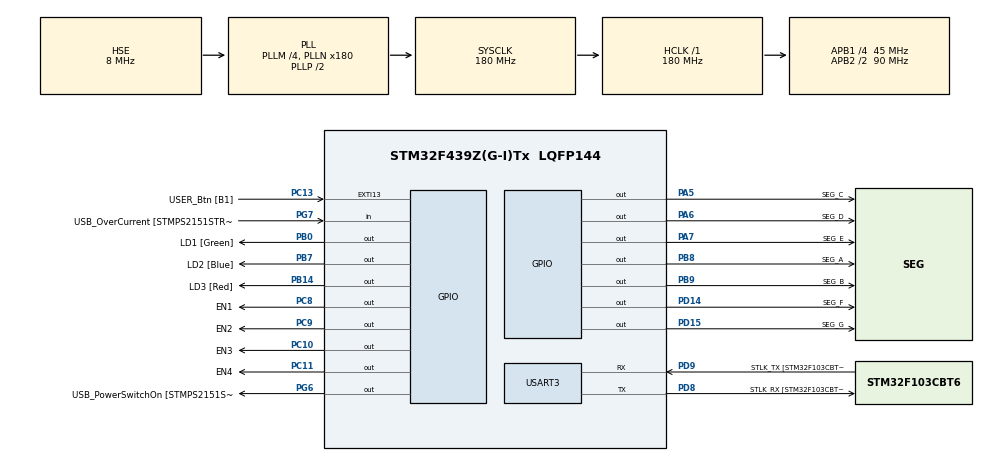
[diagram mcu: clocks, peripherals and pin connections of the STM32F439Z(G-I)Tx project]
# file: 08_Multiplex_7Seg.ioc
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Mcu.Family=STM32F4
Mcu.Name=STM32F439Z(G-I)Tx
Mcu.Package=LQFP144
NVIC.PriorityGroup=NVIC_PRIORITYGROUP_4
PA13.GPIO_Label=TMS
PA13.Mode=Serial_Wire
PA13.Signal=SYS_JTMS-SWDIO
PA14.GPIO_Label=TCK
PA14.Mode=Serial_Wire
PA14.Signal=SYS_JTCK-SWCLK
PA5.GPIO_Label=SEG_C
PA5.Signal=GPIO_Output
PA6.GPIO_Label=SEG_D
PA6.Signal=GPIO_Output
PA7.GPIO_Label=SEG_E
PA7.Signal=GPIO_Output
PB0.GPIO_Label=LD1 [Green]
PB0.Signal=GPIO_Output
PB14.GPIO_Label=LD3 [Red]
PB14.Signal=GPIO_Output
PB7.GPIO_Label=LD2 [Blue]
PB7.Signal=GPIO_Output
PB8.GPIO_Label=SEG_A
PB8.Signal=GPIO_Output
PB9.GPIO_Label=SEG_B
PB9.Signal=GPIO_Output
PC10.GPIO_Label=EN3
PC10.Signal=GPIO_Output
PC11.GPIO_Label=EN4
PC11.Signal=GPIO_Output
PC13.GPIO_Label=USER_Btn [B1]
PC13.Signal=GPXTI13
PC14/OSC32_IN.Mode=LSE-External-Oscillator
PC14/OSC32_IN.Signal=RCC_OSC32_IN
PC15/OSC32_OUT.Mode=LSE-External-Oscillator
PC15/OSC32_OUT.Signal=RCC_OSC32_OUT
PC8.GPIO_Label=EN1
PC8.Signal=GPIO_Output
PC9.GPIO_Label=EN2
PC9.Signal=GPIO_Output
PD14.GPIO_Label=SEG_F
PD14.Signal=GPIO_Output
PD15.GPIO_Label=SEG_G
PD15.Signal=GPIO_Output
PD8.GPIO_Label=STLK_RX [STM32F103CBT6_PA3]
PD8.Mode=Asynchronous
PD8.Signal=USART3_TX
PD9.GPIO_Label=STLK_TX [STM32F103CBT6_PA2]
PD9.Mode=Asynchronous
PD9.Signal=USART3_RX
PG6.GPIO_Label=USB_PowerSwitchOn [STMPS2151STR_EN]
PG6.Signal=GPIO_Output
PG7.GPIO_Label=USB_OverCurrent [STMPS2151STR_FAULT]
PG7.Signal=GPIO_Input
PH0/OSC_IN.GPIO_Label=MCO [STM32F103CBT6_PA8]
PH0/OSC_IN.Mode=HSE-External-Oscillator
PH0/OSC_IN.Signal=RCC_OSC_IN
PH1/OSC_OUT.Mode=HSE-External-Oscillator
PH1/OSC_OUT.Signal=RCC_OSC_OUT
ProjectManager.HeapSize=0x200
ProjectManager.StackSize=0x400
ProjectManager.TargetToolchain=STM32CubeIDE
RCC.48MHZClocksFreq_Value=51428571.428571425
RCC.AHBFreq_Value=180000000
RCC.APB1CLKDivider=RCC_HCLK_DIV4
RCC.APB1Freq_Value=45000000
RCC.APB1TimFreq_Value=90000000
RCC.APB2CLKDivider=RCC_HCLK_DIV2
RCC.APB2Freq_Value=90000000
RCC.APB2TimFreq_Value=180000000
RCC.CortexFreq_Value=180000000
RCC.HCLKFreq_Value=180000000
RCC.HSE_VALUE=8000000
RCC.HSI_VALUE=16000000
RCC.PLLM=4
RCC.PLLMUL=RCC_PLL_MUL9
RCC.PLLN=180
RCC.PLLQ=7
RCC.PLLSourceVirtual=RCC_PLLSOURCE_HSE
RCC.PRESCALERUSB=RCC_USBCLKSOURCE_PLL_DIV1_5
RCC.SYSCLKFreq_VALUE=180000000
RCC.SYSCLKSource=RCC_SYSCLKSOURCE_PLLCLK
RCC.SYSCLKSourceVirtual=RCC_SYSCLKSOURCE_PLLCLK
RCC.USBFreq_Value=48000000
RCC.VCOOutputFreq_Value=360000000
USART3.VirtualMode=VM_ASYNC
board=NUCLEO-F439ZI

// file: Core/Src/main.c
/* USER CODE BEGIN Header */
/**
 ******************************************************************************
 * @file           : main.c
 * @brief          : Main program body
 ******************************************************************************
 * @attention
 *
 * Copyright (c) 2026 STMicroelectronics.
 * All rights reserved.
 *
 * This software is licensed under terms that can be found in the LICENSE file
 * in the root directory of this software component.
 * If no LICENSE file comes with this software, it is provided AS-IS.
 *
 ******************************************************************************
 */
/* USER CODE END Header */
#include "main.h"

UART_HandleTypeDef huart3;

/* USER CODE BEGIN PV */
// Tabla de segmentos para cátodo común (0-9)
uint8_t tabla_segmentos[] = {0x3F, 0x06, 0x5B, 0x4F, 0x66, 0x6D, 0x7D, 0x07, 0x7F, 0x6F};

// Array para guardar los 4 números que queremos mostrar (ej: {1, 2, 3, 4})
uint8_t valores_display[4] = {0, 0, 0, 0};

uint16_t contador_global = 0;
uint32_t ultimo_tiempo = 0;

/* USER CODE END PV */

void SystemClock_Config(void);
static void MX_GPIO_Init(void);
static void MX_USART3_UART_Init(void);
/* USER CODE BEGIN PFP */

void Display_Digit(uint8_t byte);
void Display_Mux_Control(void);

/* USER CODE END PFP */

/* USER CODE BEGIN 0 */

void Display_Digit(uint8_t byte) {
	HAL_GPIO_WritePin(SEG_A_GPIO_Port, SEG_A_Pin, (byte >> 0) & 0x01);
	HAL_GPIO_WritePin(SEG_B_GPIO_Port, SEG_B_Pin, (byte >> 1) & 0x01);
	HAL_GPIO_WritePin(SEG_C_GPIO_Port, SEG_C_Pin, (byte >> 2) & 0x01);
	HAL_GPIO_WritePin(SEG_D_GPIO_Port, SEG_D_Pin, (byte >> 3) & 0x01);
	HAL_GPIO_WritePin(SEG_E_GPIO_Port, SEG_E_Pin, (byte >> 4) & 0x01);
	HAL_GPIO_WritePin(SEG_F_GPIO_Port, SEG_F_Pin, (byte >> 5) & 0x01);
	HAL_GPIO_WritePin(SEG_G_GPIO_Port, SEG_G_Pin, (byte >> 6) & 0x01);
}

void Display_Mux_Control(void) {
	for (int i = 0; i < 4; i++) {
		// 1. Apagar todos los habilitadores (Limpieza)
		HAL_GPIO_WritePin(EN1_GPIO_Port, EN1_Pin, GPIO_PIN_RESET);
		HAL_GPIO_WritePin(EN2_GPIO_Port, EN2_Pin, GPIO_PIN_RESET);
		HAL_GPIO_WritePin(EN3_GPIO_Port, EN3_Pin, GPIO_PIN_RESET);
		HAL_GPIO_WritePin(EN4_GPIO_Port, EN4_Pin, GPIO_PIN_RESET);
		// 2. Cargar el número en el bus
		Display_Digit(tabla_segmentos[valores_display[i]]);

		// 3. Encender solo el transistor que corresponde
		if (i == 0) HAL_GPIO_WritePin(EN1_GPIO_Port, EN1_Pin, GPIO_PIN_SET);
		if (i == 1) HAL_GPIO_WritePin(EN2_GPIO_Port, EN2_Pin, GPIO_PIN_SET);
		if (i == 2) HAL_GPIO_WritePin(EN3_GPIO_Port, EN3_Pin, GPIO_PIN_SET);
		if (i == 3) HAL_GPIO_WritePin(EN4_GPIO_Port, EN4_Pin, GPIO_PIN_SET);

		// 4. Retardo muy corto para que el ojo lo vea (Persistencia de Visión)
		HAL_Delay(5);
	}
}

/* USER CODE END 0 */

int main(void)
{

	/* MCU Configuration--------------------------------------------------------*/

	/* Reset of all peripherals, Initializes the Flash interface and the Systick. */
	HAL_Init();

	/* Configure the system clock */
	SystemClock_Config();

	/* Initialize all configured peripherals */
	MX_GPIO_Init();
	MX_USART3_UART_Init();
	/* USER CODE BEGIN 2 */

	//Iniciamos los displays en cero
	valores_display[3] = 0;
	valores_display[2] = 0;
	valores_display[1] = 0;
	valores_display[0] = 0;

	Display_Mux_Control(); //Refrescamos los valores
	HAL_Delay(500);		   //Retardo bloqueante
	/* USER CODE END 2 */

	/* Infinite loop */
	while (1)
	{

		/* USER CODE BEGIN 3 */

		/*INICIO DEL LA RUTINA*/

		// 1. Lógica de tiempo: Incrementar el contador cada 100ms
		if (HAL_GetTick() - ultimo_tiempo >= 100) {
			ultimo_tiempo = HAL_GetTick();
			contador_global++;
			if (contador_global > 9999) contador_global = 0;

		// 2. Descomponer el número para los 3 displays
			// Ejemplo: 8452 -> mil: 8 centenas: 4, decenas: 5, unidades: 2
			valores_display[3] = (contador_global / 1000) % 10; 	// Mil
			valores_display[2] = (contador_global / 100) % 10; 	// Centena
			valores_display[1] = (contador_global / 10) % 10;  	// Decena
			valores_display[0] = contador_global % 10;         	// Unidad
		}

		// 3. MUX CONTROL: Refresca los digitos escritos en el bus de datos
		Display_Mux_Control();

	}
	/* USER CODE END 3 */
}

void SystemClock_Config(void)
{
	RCC_OscInitTypeDef RCC_OscInitStruct = {0};
	RCC_ClkInitTypeDef RCC_ClkInitStruct = {0};

	/** Configure the main internal regulator output voltage
	 */
	__HAL_RCC_PWR_CLK_ENABLE();
	__HAL_PWR_VOLTAGESCALING_CONFIG(PWR_REGULATOR_VOLTAGE_SCALE1);

	/** Initializes the RCC Oscillators according to the specified parameters
	 * in the RCC_OscInitTypeDef structure.
	 */
	RCC_OscInitStruct.OscillatorType = RCC_OSCILLATORTYPE_HSE;
	RCC_OscInitStruct.HSEState = RCC_HSE_ON;
	RCC_OscInitStruct.PLL.PLLState = RCC_PLL_ON;
	RCC_OscInitStruct.PLL.PLLSource = RCC_PLLSOURCE_HSE;
	RCC_OscInitStruct.PLL.PLLM = 4;
	RCC_OscInitStruct.PLL.PLLN = 180;
	RCC_OscInitStruct.PLL.PLLP = RCC_PLLP_DIV2;
	RCC_OscInitStruct.PLL.PLLQ = 7;
	if (HAL_RCC_OscConfig(&RCC_OscInitStruct) != HAL_OK)
	{
		Error_Handler();
	}

	/** Activate the Over-Drive mode
	 */
	if (HAL_PWREx_EnableOverDrive() != HAL_OK)
	{
		Error_Handler();
	}

	/** Initializes the CPU, AHB and APB buses clocks
	 */
	RCC_ClkInitStruct.ClockType = RCC_CLOCKTYPE_HCLK|RCC_CLOCKTYPE_SYSCLK
			|RCC_CLOCKTYPE_PCLK1|RCC_CLOCKTYPE_PCLK2;
	RCC_ClkInitStruct.SYSCLKSource = RCC_SYSCLKSOURCE_PLLCLK;
	RCC_ClkInitStruct.AHBCLKDivider = RCC_SYSCLK_DIV1;
	RCC_ClkInitStruct.APB1CLKDivider = RCC_HCLK_DIV4;
	RCC_ClkInitStruct.APB2CLKDivider = RCC_HCLK_DIV2;

	if (HAL_RCC_ClockConfig(&RCC_ClkInitStruct, FLASH_LATENCY_5) != HAL_OK)
	{
		Error_Handler();
	}
}

static void MX_USART3_UART_Init(void)
{

	huart3.Instance = USART3;
	huart3.Init.BaudRate = 115200;
	huart3.Init.WordLength = UART_WORDLENGTH_8B;
	huart3.Init.StopBits = UART_STOPBITS_1;
	huart3.Init.Parity = UART_PARITY_NONE;
	huart3.Init.Mode = UART_MODE_TX_RX;
	huart3.Init.HwFlowCtl = UART_HWCONTROL_NONE;
	huart3.Init.OverSampling = UART_OVERSAMPLING_16;
	if (HAL_UART_Init(&huart3) != HAL_OK)
	{
		Error_Handler();
	}

}

static void MX_GPIO_Init(void)
{
	GPIO_InitTypeDef GPIO_InitStruct = {0};

	/* GPIO Ports Clock Enable */
	__HAL_RCC_GPIOC_CLK_ENABLE();
	__HAL_RCC_GPIOH_CLK_ENABLE();
	__HAL_RCC_GPIOA_CLK_ENABLE();
	__HAL_RCC_GPIOB_CLK_ENABLE();
	__HAL_RCC_GPIOD_CLK_ENABLE();
	__HAL_RCC_GPIOG_CLK_ENABLE();

	/*Configure GPIO pin Output Level */
	HAL_GPIO_WritePin(GPIOA, SEG_C_Pin|SEG_D_Pin|SEG_E_Pin, GPIO_PIN_RESET);

	/*Configure GPIO pin Output Level */
	HAL_GPIO_WritePin(GPIOB, LD1_Pin|LD3_Pin|LD2_Pin|SEG_A_Pin
			|SEG_B_Pin, GPIO_PIN_RESET);

	/*Configure GPIO pin Output Level */
	HAL_GPIO_WritePin(GPIOD, SEG_F_Pin|SEG_G_Pin, GPIO_PIN_RESET);

	/*Configure GPIO pin Output Level */
	HAL_GPIO_WritePin(USB_PowerSwitchOn_GPIO_Port, USB_PowerSwitchOn_Pin, GPIO_PIN_RESET);

	/*Configure GPIO pin Output Level */
	HAL_GPIO_WritePin(GPIOC, EN1_Pin|EN2_Pin|EN3_Pin|EN4_Pin, GPIO_PIN_RESET);

	/*Configure GPIO pin : USER_Btn_Pin */
	GPIO_InitStruct.Pin = USER_Btn_Pin;
	GPIO_InitStruct.Mode = GPIO_MODE_IT_RISING;
	GPIO_InitStruct.Pull = GPIO_NOPULL;
	HAL_GPIO_Init(USER_Btn_GPIO_Port, &GPIO_InitStruct);

	/*Configure GPIO pins : SEG_C_Pin SEG_D_Pin SEG_E_Pin */
	GPIO_InitStruct.Pin = SEG_C_Pin|SEG_D_Pin|SEG_E_Pin;
	GPIO_InitStruct.Mode = GPIO_MODE_OUTPUT_PP;
	GPIO_InitStruct.Pull = GPIO_NOPULL;
	GPIO_InitStruct.Speed = GPIO_SPEED_FREQ_LOW;
	HAL_GPIO_Init(GPIOA, &GPIO_InitStruct);

	/*Configure GPIO pins : LD1_Pin LD3_Pin LD2_Pin SEG_A_Pin
                           SEG_B_Pin */
	GPIO_InitStruct.Pin = LD1_Pin|LD3_Pin|LD2_Pin|SEG_A_Pin
			|SEG_B_Pin;
	GPIO_InitStruct.Mode = GPIO_MODE_OUTPUT_PP;
	GPIO_InitStruct.Pull = GPIO_NOPULL;
	GPIO_InitStruct.Speed = GPIO_SPEED_FREQ_LOW;
	HAL_GPIO_Init(GPIOB, &GPIO_InitStruct);

	/*Configure GPIO pins : SEG_F_Pin SEG_G_Pin */
	GPIO_InitStruct.Pin = SEG_F_Pin|SEG_G_Pin;
	GPIO_InitStruct.Mode = GPIO_MODE_OUTPUT_PP;
	GPIO_InitStruct.Pull = GPIO_NOPULL;
	GPIO_InitStruct.Speed = GPIO_SPEED_FREQ_LOW;
	HAL_GPIO_Init(GPIOD, &GPIO_InitStruct);

	/*Configure GPIO pin : USB_PowerSwitchOn_Pin */
	GPIO_InitStruct.Pin = USB_PowerSwitchOn_Pin;
	GPIO_InitStruct.Mode = GPIO_MODE_OUTPUT_PP;
	GPIO_InitStruct.Pull = GPIO_NOPULL;
	GPIO_InitStruct.Speed = GPIO_SPEED_FREQ_LOW;
	HAL_GPIO_Init(USB_PowerSwitchOn_GPIO_Port, &GPIO_InitStruct);

	/*Configure GPIO pin : USB_OverCurrent_Pin */
	GPIO_InitStruct.Pin = USB_OverCurrent_Pin;
	GPIO_InitStruct.Mode = GPIO_MODE_INPUT;
	GPIO_InitStruct.Pull = GPIO_NOPULL;
	HAL_GPIO_Init(USB_OverCurrent_GPIO_Port, &GPIO_InitStruct);

	/*Configure GPIO pins : EN1_Pin EN2_Pin EN3_Pin EN4_Pin */
	GPIO_InitStruct.Pin = EN1_Pin|EN2_Pin|EN3_Pin|EN4_Pin;
	GPIO_InitStruct.Mode = GPIO_MODE_OUTPUT_PP;
	GPIO_InitStruct.Pull = GPIO_NOPULL;
	GPIO_InitStruct.Speed = GPIO_SPEED_FREQ_LOW;
	HAL_GPIO_Init(GPIOC, &GPIO_InitStruct);

}

void Error_Handler(void)
{
	__disable_irq();
	while (1)
	{
	}
}
